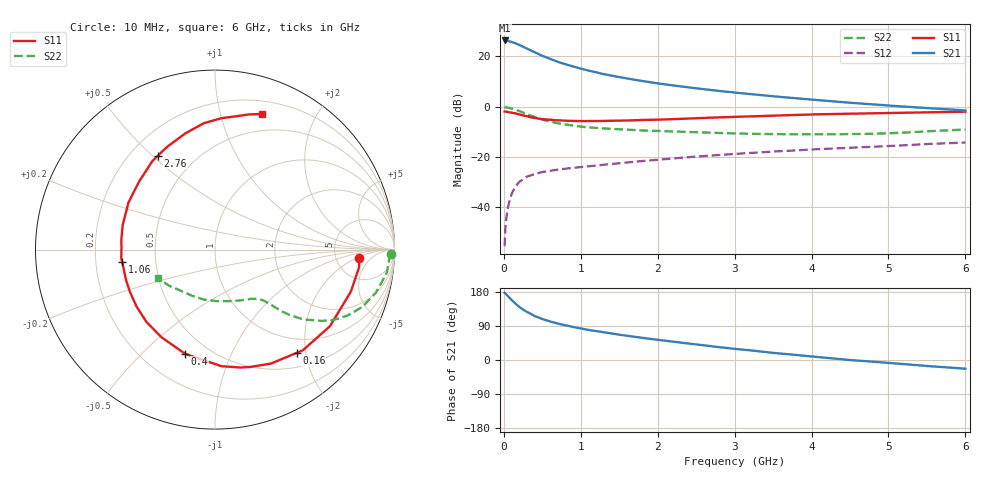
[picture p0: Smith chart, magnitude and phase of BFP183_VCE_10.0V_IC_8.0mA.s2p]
! Infineon Technologies  Discrete & RF Semiconductors
! BFP183
! VCE = 10.0V,  IC =  8.0 mA
! Common Emitter S-Parameters:  Jan 2016
# GHz  S  MA  R  50
!  f  S11  S21  S12  S22
! GHz  MAG  ANG  MAG  ANG  MAG  ANG  MAG  ANG
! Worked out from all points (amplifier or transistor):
!   210 points, 10 MHz to 6 GHz, reference 50 ohm
!   highest |S21| = 26.4 dB at 10 MHz (marker M1)
!   |S21| within 3 dB of that: start of sweep to 284.5 MHz
!   unconditionally stable (mu >= 1): 1.425 GHz to 5.797 GHz
!   at 185 MHz: K = 0.21, MSG = 27.6 dB, |S12| = -30.4 dB
!   at 1.52 GHz: K = 1.03, MAG = 16.0 dB, |S12| = -22.4 dB
!   at 6 GHz: K = 0.97, MSG = 6.4 dB, |S12| = -14.2 dB
!   S11 on the Smith chart (normalised r, x): 10 MHz: 8.63, -2.27; 160 MHz: 0.74, -1.83; 400 MHz: 0.37, -0.68; 1.06 GHz: 0.32, -0.06; 2.76 GHz: 0.31, +0.52; 6 GHz: 0.32, +1.36
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0.01  0.8045 -3.3  20.82 177.3  0.0017 77.0  0.9802 -1.5
0.02  0.8087 -7.0  20.71 175.6  0.0038 81.3  0.9722 -3.0
0.05  0.7925 -17.1  20.48 168.7  0.0094 83.9  0.9663 -7.6
0.1  0.7698 -33.6  19.49 158.5  0.0183 71.2  0.9285 -14.9
0.15  0.7445 -48.9  18.32 148.8  0.026 65.5  0.8817 -21.2
0.16  0.7332 -51.7  18.05 147.2  0.0272 64.2  0.8696 -22.2
0.2  0.7075 -63.8  17.12 140.2  0.032 60.1  0.824 -26.5
0.26  0.6719 -77.9  15.36 131.8  0.0375 54.2  0.7565 -31.4
0.3  0.6506 -86.8  14.36 126.9  0.041 51.2  0.7143 -33.8
0.4  0.6042 -106.0  12.16 116.0  0.0461 45.7  0.6257 -38.4
0.5  0.5717 -121.7  10.3 107.9  0.0505 41.8  0.5559 -41.1
0.62  0.5506 -135.5  8.731 100.6  0.0542 39.7  0.5005 -42.9
0.8  0.5293 -153.4  7.012 91.3  0.0589 38.0  0.4445 -44.4
1.02  0.5199 -169.5  5.62 82.4  0.0637 37.7  0.4011 -45.9
1.06  0.5216 -172.2  5.433 81.0  0.0647 37.6  0.3956 -46.2
1.5  0.5323 165.1  3.893 66.8  0.0756 37.9  0.3573 -50.0
2.02  0.5561 143.8  2.889 52.7  0.0892 37.8  0.331 -57.0
2.76  0.6127 121.3  2.099 34.8  0.1093 35.4  0.303 -70.8
3.1  0.6372 112.7  1.853 27.5  0.1183 33.9  0.293 -78.4
4.1  0.7108 93.5  1.351 7.4  0.1441 28.1  0.2841 -104.8
5.1  0.7561 80.1  1.034 -9.2  0.1685 23.0  0.302 -132.1
6  0.8002 70.7  0.847 -23.0  0.1951 15.9  0.3548 -153.9
